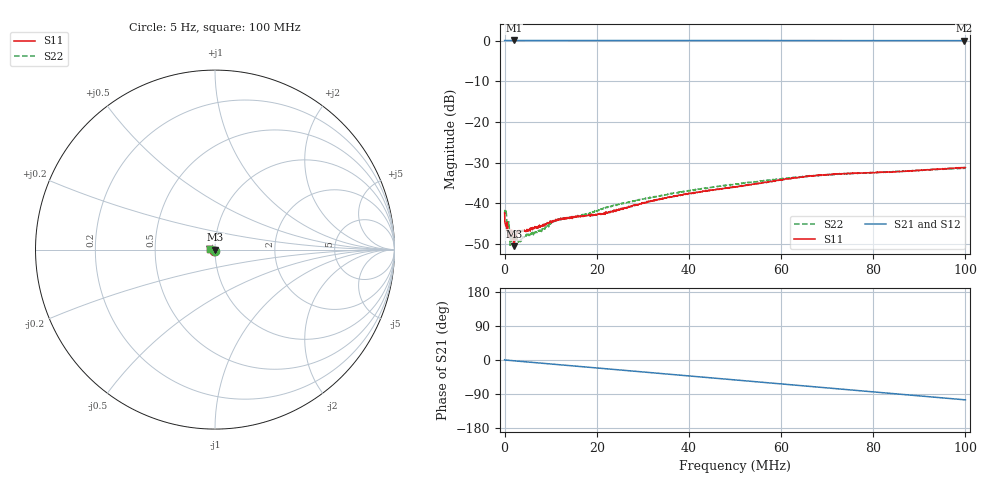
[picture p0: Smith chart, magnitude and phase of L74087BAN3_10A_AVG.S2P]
!Agilent Technologies,E5061B,MY49102235,A.02.00
!Date: Tue Jul 11 15:16:18 2023
!Data & Calibration Information:
!Freq	S11:SOLT2(ON)	S21:SOLT2(ON)	S12:SOLT2(ON)	S22:SOLT2(ON)
# Hz S RI R 50
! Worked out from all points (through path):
!   1600 points, 5 Hz to 100 MHz, reference 50 ohm
!   highest |S21| = 0.02 dB at 2.001 MHz (marker M1); lowest = 0.0 dB at 99.75 MHz (marker M2)
!   group delay of S21, straight-line fit = 2.92 ns
!   lowest |S11| = -50.5 dB at 2.126 MHz (marker M3), VSWR 1.01, Z = 50.3 - j0.113 ohm
!   |S11| at or under -10 dB: start of sweep to end of sweep
!   |S22| runs from -50.3 to -31.3 dB; largest |S21 - S12| = 0.0026
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5  -0.00521 -0.00563  1.002 0.00798  1 0.0102  -0.00152 -0.00756
437778.6  0.00514 -0.000213  1.001 -0.00572  1.001 -0.00643  0.0066 -0.00187
625395.8  0.00508 -7.35e-05  1.002 -0.011  1.002 -0.0106  0.00611 -0.00047
1000630  0.0038 9.1e-05  1.001 -0.0172  1.001 -0.0168  0.00519 -0.000821
1500943  0.00442 -0.0012  1.001 -0.026  1.001 -0.0261  0.00306 -0.00238
1688560  0.00392 -0.00125  1.001 -0.0305  1.001 -0.0307  0.00365 -0.0021
2001256  0.00312 -0.00109  1.002 -0.0365  1.001 -0.0363  0.00325 -0.0008
2126334  0.00276 -0.00112  1.001 -0.0388  1 -0.0385  0.00391 -0.000557
2439029  0.00387 -0.00092  0.9996 -0.0449  0.9994 -0.0445  0.00372 -0.000455
2939342  0.00434 -0.00107  0.9996 -0.0536  0.9992 -0.0537  0.00328 -0.000694
3439655  0.00442 -0.0012  0.9987 -0.0627  0.9989 -0.0627  0.00327 -0.000846
4627897  0.00426 -0.00178  0.9975 -0.0845  0.9972 -0.0842  0.00381 -0.00137
8255164  0.00325 -0.00429  0.9897 -0.1508  0.9895 -0.1506  0.00306 -0.00383
1.11945e7  0.00203 -0.00574  0.98 -0.2038  0.98 -0.2034  0.00109 -0.00618
1.669794e7  0.000224 -0.00693  0.9541 -0.3014  0.954 -0.3011  -8.32e-05 -0.00708
2.132583e7  -0.000122 -0.00732  0.9253 -0.381  0.9253 -0.3808  0.00178 -0.00829
3.333334e7  -0.00411 -0.0104  0.8194 -0.574  0.8194 -0.5737  -0.00283 -0.0119
5.003127e7  -0.0102 -0.0121  0.608 -0.7942  0.6079 -0.7939  -0.0107 -0.0134
6.672921e7  -0.0191 -0.0108  0.3394 -0.9398  0.3397 -0.9398  -0.0186 -0.0111
8.33646e7  -0.0239 -0.0039  0.041 -0.9975  0.041 -0.9975  -0.0236 -0.00533
9.974984e7  -0.0273 0.00374  -0.2569 -0.9632  -0.2567 -0.9633  -0.0268 0.00208
1e8  -0.0273 0.00381  -0.2613 -0.9621  -0.2612 -0.9622  -0.0269 0.00237
